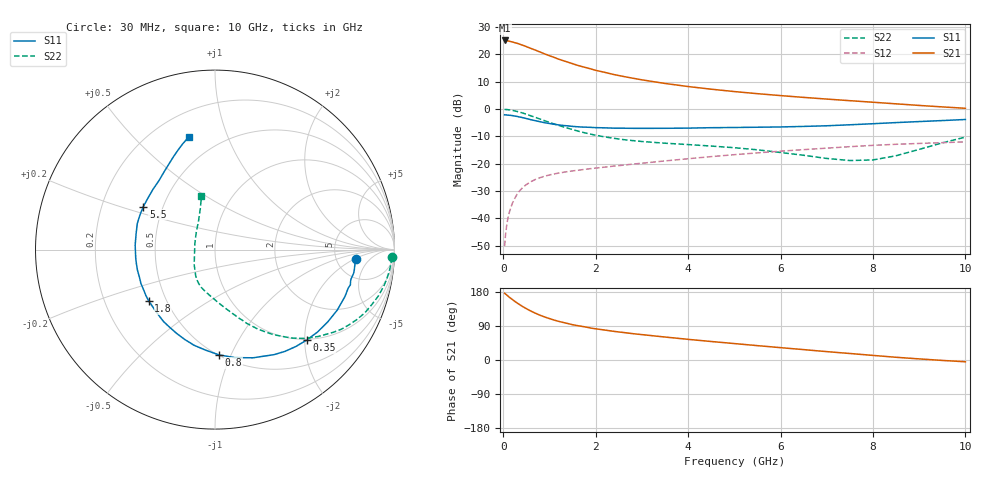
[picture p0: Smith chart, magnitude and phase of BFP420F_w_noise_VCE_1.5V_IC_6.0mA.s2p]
! Infineon Technologies  Discrete & RF Semiconductors
! BFP420F
! VCE =  1.5 V,  IC =  6.0 mA
! Common Emitter S-Parameters:  Sep 2011
# GHz  S  MA  R  50
!  f  S11  S21  S12  S22
! GHz  MAG  ANG  MAG  ANG  MAG  ANG  MAG  ANG
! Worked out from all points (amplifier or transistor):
!   54 points, 30 MHz to 10 GHz, reference 50 ohm
!   highest |S21| = 25.1 dB at 40 MHz (marker M1)
!   |S21| within 3 dB of that: start of sweep to 611.4 MHz
!   unconditionally stable (mu >= 1): 2.377 GHz to end of sweep
!   at 120 MHz: K = 0.09, MSG = 31.7 dB, |S12| = -38.6 dB
!   at 1.3 GHz: K = 0.61, MSG = 20.4 dB, |S12| = -23.1 dB
!   at 10 GHz: K = 1.34, MAG = 2.7 dB, |S12| = -12.0 dB
!   lowest NFmin = 1.00 dB at 450 MHz
!   S11 on the Smith chart (normalised r, x): 30 MHz: 7.72, -2.22; 350 MHz: 0.98, -2.04; 800 MHz: 0.50, -0.90; 1.8 GHz: 0.40, -0.29; 5.5 GHz: 0.39, +0.24; 10 GHz: 0.34, +0.74
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0.03  0.7864 -4.0  18.01 176.2  0.0031 88.9  0.9853 -2.5
0.04  0.7839 -5.4  18.03 175.1  0.0039 88.4  0.9844 -3.2
0.1  0.7762 -13.5  17.81 168.9  0.0099 84.6  0.9754 -8.1
0.15  0.7695 -20.0  17.31 163.9  0.0145 80.6  0.9629 -12.0
0.25  0.7463 -32.6  16.42 154.8  0.0232 74.9  0.926 -19.3
0.35  0.7176 -44.6  15.5 146.6  0.0315 69.7  0.8816 -26.2
0.45  0.6881 -55.5  14.47 139.0  0.0385 64.9  0.8323 -32.2
0.5  0.6716 -60.6  13.92 135.5  0.0415 62.9  0.8049 -34.9
0.6  0.6391 -70.6  12.87 129.0  0.047 59.1  0.7514 -40.1
0.7  0.6123 -79.5  11.96 123.2  0.0518 56.0  0.7037 -44.7
0.8  0.5868 -87.9  11.06 117.9  0.0557 53.4  0.6553 -48.8
1  0.5456 -102.4  9.498 109.3  0.0623 49.6  0.5714 -55.8
1.2  0.5128 -114.9  8.196 101.9  0.0675 46.8  0.5024 -61.7
1.5  0.4823 -130.4  6.776 93.1  0.0739 44.6  0.4215 -68.9
1.7  0.4694 -138.8  6.014 88.8  0.0776 43.7  0.3793 -73.4
1.8  0.4667 -142.4  5.717 86.7  0.0796 43.5  0.3623 -75.6
2.4  0.4477 -160.7  4.277 75.5  0.0907 42.3  0.2916 -87.4
3.5  0.4454 176.9  2.946 60.6  0.1126 41.7  0.2375 -103.8
5.5  0.4657 149.0  1.915 37.9  0.158 36.4  0.1798 -126.9
7  0.4951 129.1  1.525 22.1  0.1929 29.8  0.1249 -156.8
8.5  0.5664 114.2  1.248 7.2  0.2268 21.2  0.1401 138.5
10  0.645 103.0  1.034 -4.7  0.251 13.1  0.3071 104.2
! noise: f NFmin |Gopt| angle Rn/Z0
0.45  1  0.17  17  0.17
0.9  1.02  0.18  42  0.16
1.9  1.19  0.16  110  0.13
2.4  1.27  0.18  119  0.15
3.5  1.56  0.23  155  0.19
